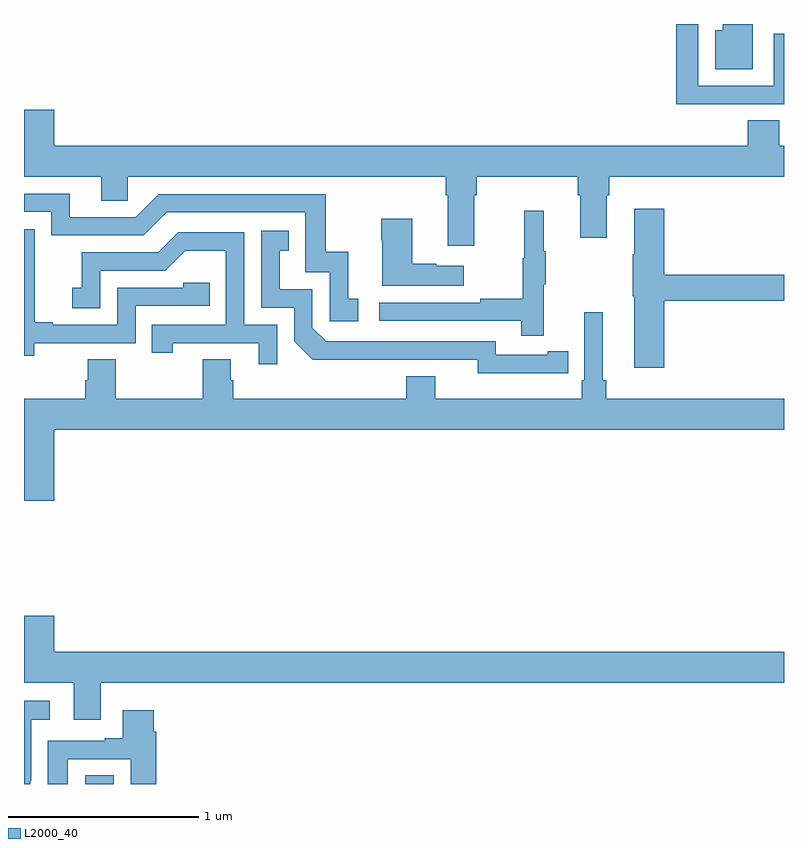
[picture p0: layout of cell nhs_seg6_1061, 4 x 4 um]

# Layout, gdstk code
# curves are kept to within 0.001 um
import gdstk
lib = gdstk.Library(unit=1e-6, precision=1e-09)
def R(c, l, rs):  # rectangles x0, y0, x1, y1
    for r in rs: c.add(gdstk.rectangle(r[:2], r[2:], *l))
def P(c, l, *ps):  # polygons
    for p in ps: c.add(gdstk.Polygon(p, *l))
L2000_40 = (2000, 40)

nhs_seg6_1061 = lib.new_cell('nhs_seg6_1061')
R(nhs_seg6_1061, L2000_40, [(177.323,917.5,177.472,917.546)])
P(nhs_seg6_1061, L2000_40, [(180.725,921.078),(181,921.078),(181,921.448),(180.945,921.448),(180.945,921.174),(180.549,921.174),(180.549,921.5),(180.433,921.5),(180.433,921.077),(180.725,921.077)],
  [(180.835,921.5),(180.677,921.5),(180.677,921.466),(180.638,921.466),(180.638,921.263),(180.835,921.263)],
  [(177.16,921.049),(177,921.049),(177,920.696),(177.407,920.696),(177.407,920.569),(177.546,920.569),(177.546,920.696),(179.219,920.696),(179.219,920.6),(179.231,920.6),(179.231,920.334),(179.371,920.334),(179.371,920.6),(179.384,920.6),(179.384,920.696),(179.915,920.696),(179.915,920.6),(179.927,920.6),(179.927,920.376),(180.067,920.376),(180.067,920.6),(180.08,920.6),(180.08,920.696),(181,920.696),(181,920.86),(180.974,920.86),(180.974,920.993),(180.809,920.993),(180.809,920.86),(177.16,920.86)],
  [(178.759,920.055),(178.706,920.055),(178.706,920.302),(178.588,920.302),(178.588,920.604),(177.708,920.604),(177.588,920.484),(177.241,920.484),(177.241,920.607),(177,920.607),(177,920.511),(177.144,920.511),(177.144,920.388),(177.63,920.388),(177.75,920.508),(178.479,920.508),(178.479,920.193),(178.608,920.193),(178.608,919.935),(178.759,919.935)],
  [(180.371,920.044),(181,920.044),(181,920.18),(180.371,920.18),(180.371,920.527),(180.212,920.527),(180.212,920.288),(180.205,920.288),(180.205,920.067),(180.212,920.067),(180.212,919.692),(180.371,919.692)],
  [(179.735,920.131),(179.746,920.131),(179.746,920.305),(179.735,920.305),(179.735,920.518),(179.632,920.518),(179.632,920.268),(179.625,920.268),(179.625,920.054),(179.401,920.054),(179.401,920.034),(178.869,920.034),(178.869,919.938),(179.617,919.938),(179.617,919.86),(179.735,919.86)],
  [(179.314,920.227),(179.171,920.227),(179.171,920.237),(179.044,920.237),(179.044,920.476),(178.879,920.476),(178.879,920.363),(178.886,920.363),(178.886,920.123),(179.314,920.123)],
  [(177.054,919.821),(177.588,919.821),(177.588,920.016),(177.977,920.016),(177.977,920.139),(177.837,920.139),(177.837,920.112),(177.492,920.112),(177.492,919.917),(177.151,919.917),(177.151,919.93),(177.056,919.93),(177.056,920.213),(177.057,920.213),(177.057,920.419),(177,920.419),(177,919.753),(177.054,919.753)],
  [(179.756,919.662),(179.864,919.662),(179.864,919.778),(179.756,919.778),(179.756,919.758),(179.484,919.758),(179.484,919.83),(178.59,919.83),(178.518,919.902),(178.518,920.103),(178.345,920.103),(178.345,920.307),(178.394,920.307),(178.394,920.413),(178.248,920.413),(178.248,920.007),(178.422,920.007),(178.422,919.83),(178.52,919.733),(179.388,919.734),(179.388,919.661)],
  [(178.332,919.917),(178.158,919.917),(178.158,920.403),(177.812,920.403),(177.707,920.298),(177.304,920.298),(177.304,920.113),(177.255,920.113),(177.255,920.004),(177.402,920.004),(177.402,920.202),(177.744,920.202),(177.848,920.306),(178.062,920.306),(178.062,919.917),(177.673,919.917),(177.673,919.77),(177.784,919.77),(177.784,919.821),(178.235,919.821),(178.235,919.71),(178.332,919.71)],
  [(177.16,919.364),(181,919.364),(181,919.528),(180.065,919.528),(180.065,919.624),(180.046,919.624),(180.046,919.984),(179.949,919.984),(179.949,919.624),(179.936,919.624),(179.936,919.528),(179.164,919.528),(179.164,919.645),(179.012,919.645),(179.012,919.528),(178.1,919.528),(178.1,919.626),(178.087,919.626),(178.087,919.736),(177.94,919.736),(177.94,919.528),(177.483,919.528),(177.483,919.736),(177.335,919.736),(177.335,919.626),(177.323,919.626),(177.323,919.528),(177,919.528),(177,918.99),(177.16,918.99)],
  [(177.403,918.032),(181,918.032),(181,918.196),(177.16,918.196),(177.16,918.385),(177,918.385),(177,918.032),(177.263,918.032),(177.263,917.838),(177.403,917.838)],
  [(177.033,917.518),(177.037,917.518),(177.037,917.837),(177.136,917.837),(177.136,917.938),(177,917.938),(177,917.5),(177.033,917.5)],
  [(177.229,917.631),(177.563,917.631),(177.563,917.5),(177.695,917.5),(177.695,917.774),(177.682,917.774),(177.682,917.887),(177.521,917.887),(177.521,917.74),(177.425,917.74),(177.425,917.727),(177.125,917.727),(177.125,917.5),(177.229,917.5)])

lib.write_gds('nhs_seg6_1061.gds')
